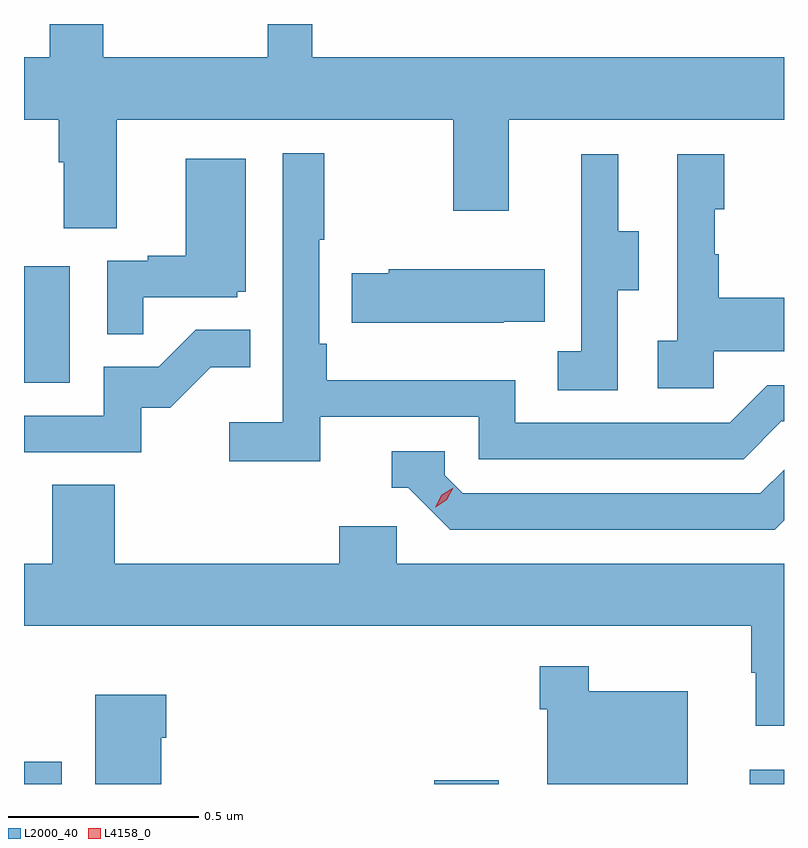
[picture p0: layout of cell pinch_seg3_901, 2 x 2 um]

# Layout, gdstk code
import gdstk
lib = gdstk.Library(unit=1e-6, precision=1e-09)
def R(c, l, rs):  # rectangles x0, y0, x1, y1
    for r in rs: c.add(gdstk.rectangle(r[:2], r[2:], *l))
def P(c, l, *ps):  # polygons
    for p in ps: c.add(gdstk.Polygon(p, *l))
L2000_40 = (2000, 40)
L4158_0 = (4158, 0)

pinch_seg3_901 = lib.new_cell('pinch_seg3_901')
R(pinch_seg3_901, L2000_40, [(885.975,700.5,886.074,700.558), (887.054,700.5,887.224,700.51), (887.885,700.5,887.975,700.537), (885.975,701.556,886.096,701.863)])
P(pinch_seg3_901, L2000_40, [(886.219,702.248),(887.104,702.248),(887.104,702.009),(887.251,702.009),(887.251,702.248),(887.975,702.248),(887.975,702.412),(886.733,702.412),(886.733,702.5),(886.617,702.5),(886.617,702.412),(886.183,702.412),(886.183,702.5),(886.043,702.5),(886.043,702.412),(885.975,702.412),(885.975,702.248),(886.067,702.248),(886.067,702.136),(886.079,702.136),(886.079,701.962),(886.219,701.962)],
  [(886.754,701.466),(887.172,701.466),(887.172,701.355),(887.869,701.355),(887.968,701.454),(887.975,701.454),(887.975,701.55),(887.931,701.55),(887.832,701.451),(887.268,701.451),(887.268,701.563),(886.772,701.563),(886.772,701.659),(886.752,701.659),(886.752,701.932),(886.765,701.932),(886.765,702.16),(886.656,702.16),(886.656,701.452),(886.515,701.452),(886.515,701.35),(886.754,701.35)],
  [(887.79,701.639),(887.975,701.639),(887.975,701.779),(887.803,701.779),(887.803,701.894),(887.793,701.894),(887.793,702.012),(887.818,702.012),(887.818,702.157),(887.694,702.157),(887.694,701.666),(887.643,701.666),(887.643,701.541),(887.79,701.541)],
  [(887.538,701.8),(887.593,701.8),(887.593,701.955),(887.539,701.955),(887.539,702.157),(887.441,702.157),(887.441,701.943),(887.442,701.943),(887.442,701.639),(887.379,701.639),(887.379,701.536),(887.538,701.536)],
  [(886.289,701.781),(886.536,701.781),(886.536,701.796),(886.558,701.796),(886.558,702.145),(886.4,702.145),(886.4,701.89),(886.301,701.89),(886.301,701.877),(886.194,701.877),(886.194,701.683),(886.289,701.683)],
  [(887.237,701.717),(887.345,701.717),(887.345,701.854),(886.935,701.854),(886.935,701.844),(886.837,701.844),(886.837,701.714),(887.237,701.714)],
  [(886.284,701.49),(886.36,701.49),(886.467,701.597),(886.571,701.597),(886.571,701.696),(886.427,701.696),(886.329,701.598),(886.185,701.598),(886.185,701.469),(885.975,701.469),(885.975,701.373),(886.284,701.373)],
  [(887.975,701.194),(887.975,701.327),(887.913,701.265),(887.13,701.265),(887.082,701.313),(887.082,701.376),(886.943,701.376),(886.943,701.28),(886.986,701.28),(887.097,701.169),(887.95,701.169)],
  [(887.975,701.08),(886.956,701.08),(886.956,701.178),(886.805,701.178),(886.805,701.08),(886.214,701.08),(886.214,701.288),(886.049,701.288),(886.049,701.08),(885.975,701.08),(885.975,700.916),(887.889,700.916),(887.889,700.793),(887.9,700.793),(887.9,700.653),(887.975,700.653)],
  [(887.722,700.744),(887.461,700.744),(887.461,700.81),(887.332,700.81),(887.332,700.697),(887.352,700.697),(887.352,700.5),(887.722,700.5)],
  [(886.336,700.622),(886.349,700.622),(886.349,700.735),(886.163,700.735),(886.163,700.5),(886.336,700.5)])
P(pinch_seg3_901, L4158_0, [(887.057,701.228),(887.057,701.228),(887.074,701.261),(887.104,701.28),(887.105,701.28),(887.105,701.28),(887.088,701.248),(887.058,701.228)])

lib.write_gds('pinch_seg3_901.gds')
